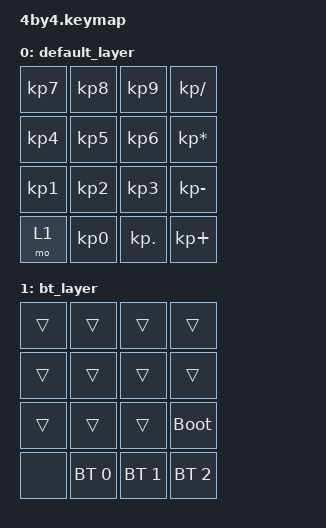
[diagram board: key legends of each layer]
/*
 * Copyright (c) 2020 The ZMK Contributors
 *
 * SPDX-License-Identifier: MIT
 */

#include <behaviors.dtsi>
#include <dt-bindings/zmk/keys.h>
#include <dt-bindings/zmk/bt.h>

/ {
    keymap {
        compatible = "zmk,keymap";

        default_layer {
// ------------------------------------------------
// |   7   |    8    |    9    |    /    |
// |   4   |    5    |    6    |    *    |
// |   1   |    2    |    3    |    -    |
// |   BT  |    0    |    .    |    +    |
           
            bindings = <
            &kp KP_N7     &kp KP_N8     &kp KP_N9     &kp KP_DIVIDE
            &kp KP_N4     &kp KP_N5     &kp KP_N6     &kp KP_MULTIPLY
            &kp KP_N1     &kp KP_N2     &kp KP_N3     &kp KP_MINUS
            &mo 1         &kp KP_N0     &kp KP_DOT    &kp KP_PLUS
            >;
            };

            bt_layer {
// ------------------------------------------------
// |       |         |         |         |
// |       |         |         |         |
// |       |         |         |   RST   |
// |       |   BT 0  |   BT 1  |   BT 2  |

            bindings = <
            &trans    &trans         &trans         &trans
            &trans    &trans         &trans         &trans
            &trans    &trans         &trans         &bootloader
            &none     &bt BT_SEL 0   &bt BT_SEL 1   &bt BT_SEL 2
            >;
         };
    };
};
